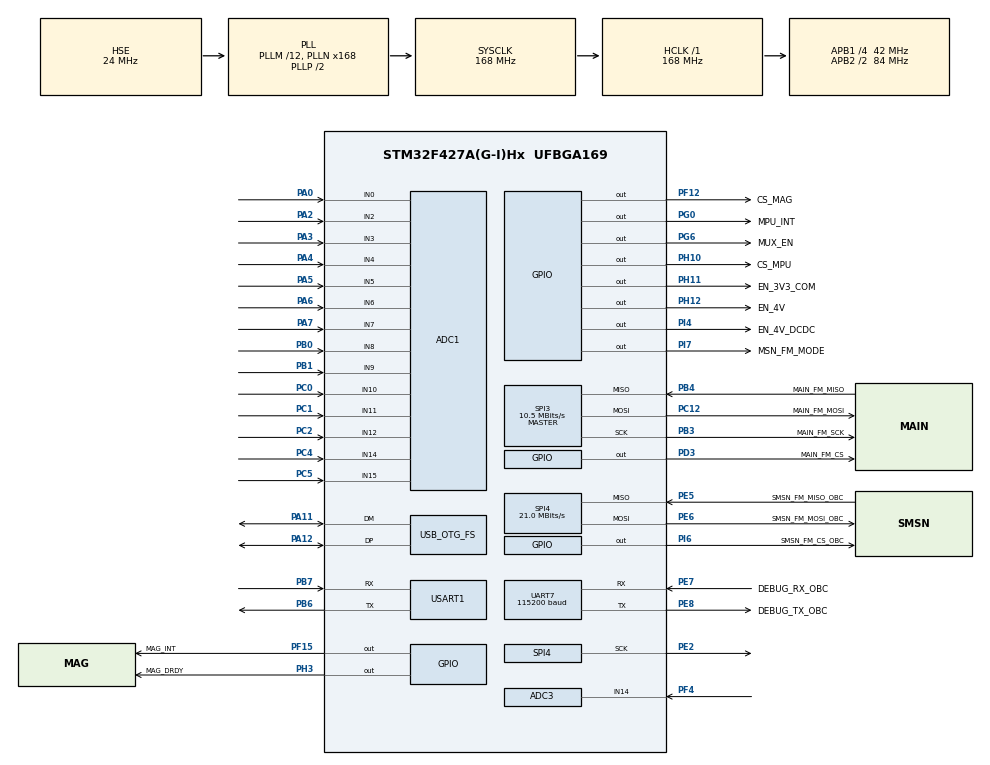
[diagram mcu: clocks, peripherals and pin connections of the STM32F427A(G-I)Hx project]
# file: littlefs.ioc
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ADC1.Channel-0\#ChannelRegularConversion=ADC_CHANNEL_0
ADC1.NbrOfConversionFlag=1
ADC1.Rank-0\#ChannelRegularConversion=1
ADC1.SamplingTime-0\#ChannelRegularConversion=ADC_SAMPLETIME_3CYCLES
ADC1.master=1
ADC3.Channel-0\#ChannelRegularConversion=ADC_CHANNEL_14
ADC3.NbrOfConversionFlag=1
ADC3.Rank-0\#ChannelRegularConversion=1
ADC3.SamplingTime-0\#ChannelRegularConversion=ADC_SAMPLETIME_3CYCLES
Mcu.Family=STM32F4
Mcu.Name=STM32F427A(G-I)Hx
Mcu.Package=UFBGA169
NVIC.OTG_FS_IRQn=true\:0\:0\:false\:false\:true\:false\:true
NVIC.PriorityGroup=NVIC_PRIORITYGROUP_4
NVIC.UART7_IRQn=true\:0\:0\:false\:false\:true\:true\:true
NVIC.USART1_IRQn=true\:0\:0\:false\:false\:true\:true\:true
PA0/WKUP.Signal=ADCx_IN0
PA11.Mode=Device_Only
PA11.Signal=USB_OTG_FS_DM
PA12.Mode=Device_Only
PA12.Signal=USB_OTG_FS_DP
PA13.Mode=Serial_Wire
PA13.Signal=SYS_JTMS-SWDIO
PA14.Mode=Serial_Wire
PA14.Signal=SYS_JTCK-SWCLK
PA2.Signal=ADCx_IN2
PA3.Signal=ADCx_IN3
PA4.Signal=ADCx_IN4
PA5.Signal=ADCx_IN5
PA6.Signal=ADCx_IN6
PA7.Signal=ADCx_IN7
PB0.Signal=ADCx_IN8
PB1.Signal=ADCx_IN9
PB3.GPIO_Label=MAIN_FM_SCK
PB3.Mode=Full_Duplex_Master
PB3.Signal=SPI3_SCK
PB4.GPIO_Label=MAIN_FM_MISO
PB4.Mode=Full_Duplex_Master
PB4.Signal=SPI3_MISO
PB6.Mode=Asynchronous
PB6.Signal=USART1_TX
PB7.Mode=Asynchronous
PB7.Signal=USART1_RX
PC0.Signal=ADCx_IN10
PC1.Signal=ADCx_IN11
PC12.GPIO_Label=MAIN_FM_MOSI
PC12.Mode=Full_Duplex_Master
PC12.Signal=SPI3_MOSI
PC14/OSC32_IN.Mode=LSE-External-Oscillator
PC14/OSC32_IN.Signal=RCC_OSC32_IN
PC15/OSC32_OUT.Mode=LSE-External-Oscillator
PC15/OSC32_OUT.Signal=RCC_OSC32_OUT
PC2.Signal=ADCx_IN12
PC4.Signal=ADCx_IN14
PC5.Signal=ADCx_IN15
PD3.GPIO_Label=MAIN_FM_CS
PD3.Signal=GPIO_Output
PE2.Mode=Full_Duplex_Master
PE2.Signal=SPI4_SCK
PE5.GPIO_Label=SMSN_FM_MISO_OBC
PE5.Mode=Full_Duplex_Master
PE5.Signal=SPI4_MISO
PE6.GPIO_Label=SMSN_FM_MOSI_OBC
PE6.Mode=Full_Duplex_Master
PE6.Signal=SPI4_MOSI
PE7.GPIO_Label=DEBUG_RX_OBC
PE7.Mode=Asynchronous
PE7.Signal=UART7_RX
PE8.GPIO_Label=DEBUG_TX_OBC
PE8.Mode=Asynchronous
PE8.Signal=UART7_TX
PF12.GPIO_Label=CS_MAG
PF12.Signal=GPIO_Output
PF15.GPIO_Label=MAG_INT
PF15.Signal=GPIO_Output
PF4.Mode=IN14
PF4.Signal=ADC3_IN14
PG0.GPIO_Label=MPU_INT
PG0.Signal=GPIO_Output
PG6.GPIO_Label=MUX_EN
PG6.Signal=GPIO_Output
PH0/OSC_IN.Mode=HSE-External-Oscillator
PH0/OSC_IN.Signal=RCC_OSC_IN
PH1/OSC_OUT.Mode=HSE-External-Oscillator
PH1/OSC_OUT.Signal=RCC_OSC_OUT
PH10.GPIO_Label=CS_MPU
PH10.Signal=GPIO_Output
PH11.GPIO_Label=EN_3V3_COM
PH11.Signal=GPIO_Output
PH12.GPIO_Label=EN_4V
PH12.Signal=GPIO_Output
PH3.GPIO_Label=MAG_DRDY
PH3.Signal=GPIO_Output
PI4.GPIO_Label=EN_4V_DCDC
PI4.Signal=GPIO_Output
PI6.GPIO_Label=SMSN_FM_CS_OBC
PI6.Signal=GPIO_Output
PI7.GPIO_Label=MSN_FM_MODE
PI7.Signal=GPIO_Output
ProjectManager.HeapSize=0x200
ProjectManager.StackSize=0x400
ProjectManager.TargetToolchain=STM32CubeIDE
RCC.48MHZClocksFreq_Value=48000000
RCC.AHBFreq_Value=168000000
RCC.APB1CLKDivider=RCC_HCLK_DIV4
RCC.APB1Freq_Value=42000000
RCC.APB1TimFreq_Value=84000000
RCC.APB2CLKDivider=RCC_HCLK_DIV2
RCC.APB2Freq_Value=84000000
RCC.APB2TimFreq_Value=168000000
RCC.CortexFreq_Value=168000000
RCC.HCLKFreq_Value=168000000
RCC.HSE_VALUE=24000000
RCC.HSI_VALUE=16000000
RCC.PLLM=12
RCC.PLLN=168
RCC.PLLQ=7
RCC.SYSCLKFreq_VALUE=168000000
RCC.SYSCLKSource=RCC_SYSCLKSOURCE_PLLCLK
RCC.VCOOutputFreq_Value=336000000
SH.ADCx_IN0.0=ADC1_IN0,IN0
SH.ADCx_IN10.0=ADC1_IN10,IN10
SH.ADCx_IN11.0=ADC1_IN11,IN11
SH.ADCx_IN12.0=ADC1_IN12,IN12
SH.ADCx_IN14.0=ADC1_IN14,IN14
SH.ADCx_IN15.0=ADC1_IN15,IN15
SH.ADCx_IN2.0=ADC1_IN2,IN2
SH.ADCx_IN3.0=ADC1_IN3,IN3
SH.ADCx_IN4.0=ADC1_IN4,IN4
SH.ADCx_IN5.0=ADC1_IN5,IN5
SH.ADCx_IN6.0=ADC1_IN6,IN6
SH.ADCx_IN7.0=ADC1_IN7,IN7
SH.ADCx_IN8.0=ADC1_IN8,IN8
SH.ADCx_IN9.0=ADC1_IN9,IN9
SPI3.BaudRatePrescaler=SPI_BAUDRATEPRESCALER_4
SPI3.CalculateBaudRate=10.5 MBits/s
SPI3.Direction=SPI_DIRECTION_2LINES
SPI3.Mode=SPI_MODE_MASTER
SPI3.VirtualType=VM_MASTER
SPI4.BaudRatePrescaler=SPI_BAUDRATEPRESCALER_4
SPI4.CalculateBaudRate=21.0 MBits/s
SPI4.Direction=SPI_DIRECTION_2LINES
SPI4.Mode=SPI_MODE_MASTER
SPI4.VirtualType=VM_MASTER
UART7.BaudRate=115200
UART7.VirtualMode=Asynchronous
USART1.VirtualMode=VM_ASYNC
USB_DEVICE.CLASS_NAME_FS=CDC
USB_DEVICE.VirtualMode-CDC_FS=Cdc
USB_DEVICE.VirtualModeFS=Cdc_FS
USB_OTG_FS.VirtualMode=Device_Only
VP_USB_DEVICE_VS_USB_DEVICE_CDC_FS.Mode=CDC_FS
board=custom

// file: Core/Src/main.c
/* USER CODE BEGIN Header */
/**
  ******************************************************************************
  * @file           : main.c
  * @brief          : Main program body
  ******************************************************************************
  * @attention
  *
  * <h2><center>&copy; Copyright (c) 2024 STMicroelectronics.
  * All rights reserved.</center></h2>
  *
  * This software component is licensed by ST under BSD 3-Clause license,
  * the "License"; You may not use this file except in compliance with the
  * License. You may obtain a copy of the License at:
  *                        opensource.org/licenses/BSD-3-Clause
  *
  ******************************************************************************
  */
/* USER CODE END Header */
#include "main.h"
#include "usb_device.h"

/* USER CODE BEGIN Includes */
#include "stdarg.h"
#include "lfs_util.h"
#include "lfs.h"
#include "MT25Q.h"
#include "nor.h"
/* USER CODE END Includes */

/* USER CODE BEGIN PTD */
//#define CDC_USB_DEBUG
#define UART_DEBUG
/* USER CODE END PTD */

/* USER CODE BEGIN PD */
#define sector_size 32
/* USER CODE END PD */

/* USER CODE BEGIN PM */
void myprintf(const char *fmt, ...);
/* USER CODE END PM */

ADC_HandleTypeDef hadc1;
ADC_HandleTypeDef hadc3;

SPI_HandleTypeDef hspi3;
SPI_HandleTypeDef hspi4;

UART_HandleTypeDef huart7;
UART_HandleTypeDef huart1;

/* USER CODE BEGIN PV */
//uint8_t tx[]={'S','A','N','G','A','M'};

uint16_t address = 0x00;
uint8_t status_reg=0;
uint8_t READ_FLAG=0;
int tx[70];

uint8_t DEBUG_DATA_RX_FLAG = 0;
// variables used by the filesystem
typedef struct{
	uint32_t secCount;
	uint32_t bootCount;
}app_count_t;
	lfs_file_t File;
		char Text[20];
		app_count_t Counter = {0};
		lfs_t Lfs;
		nor_t Nor;

/* USER CODE END PV */

void SystemClock_Config(void);
static void MX_GPIO_Init(void);
static void MX_SPI3_Init(void);
static void MX_UART7_Init(void);
static void MX_SPI4_Init(void);
static void MX_USART1_UART_Init(void);
static void MX_ADC1_Init(void);
static void MX_ADC3_Init(void);

/* USER CODE BEGIN 0 */

// Function to read data from a file in LittleFS
void read_file_from_littlefs(lfs_t *lfs, const char *filename) {
    lfs_file_t file;
    HAL_UART_Transmit(&huart7, filename,sizeof(filename),1000);
    // Open the file for reading
    int err = lfs_file_open(lfs, &file, filename, LFS_O_RDONLY);
    if (err < 0) {
        printf("Failed to open file: %s\n", filename);
        return;
    }

    // Get the file size
    lfs_soff_t file_size = lfs_file_size(lfs, &file);
    if (file_size < 0) {
        printf("Failed to get file size for: %s\n", filename);
        lfs_file_close(lfs, &file);
        return;
    }

    // Allocate a buffer to hold the file data
    float *buffer = malloc(file_size);
    if (buffer == NULL) {
        printf("Failed to allocate buffer for reading file: %s\n", filename);
        lfs_file_close(lfs, &file);
        return;
    }

    // Read the file content into the buffer
    lfs_ssize_t bytes_read = lfs_file_read(lfs, &file, buffer, file_size);
    if (bytes_read < 0) {
        printf("Failed to read file: %s\n", filename);
    } else {
    	char x;
        // Successfully read the file, print its content (if it's text data)
        HAL_UART_Transmit(&huart7, buffer, (int)bytes_read,1000);
        for(int i=0;i<(int) bytes_read;){
//        	printf(buffer[i]);
        	x=buffer[i];
        	i++;
        }

        printf("File Content (%s):\n%.*s\n", filename, (int)bytes_read, buffer);
    }

    // Clean up
    free(buffer);
    lfs_file_close(lfs, &file);
}

volatile uint8_t DmaEnd = 0;

void HAL_SPI_TxCpltCallback(SPI_HandleTypeDef *hspi){
	DmaEnd = 1;
}

void HAL_SPI_RxCpltCallback(SPI_HandleTypeDef *hspi){
	DmaEnd = 1;
}

void nor_delay_us(uint32_t us){
//	if (us >= __HAL_TIM_GET_AUTORELOAD(&htim2)){
//		us = __HAL_TIM_GET_AUTORELOAD(&htim2) - 1;
//	}
//	__HAL_TIM_SET_COUNTER(&htim2, 0);
//	HAL_TIM_Base_Start(&htim2);
//	while (__HAL_TIM_GET_COUNTER(&htim2) < us);
//	HAL_TIM_Base_Stop(&htim2);
	HAL_Delay(1000);
}

void nor_cs_assert(){
	HAL_GPIO_WritePin(GPIOD, GPIO_PIN_3, GPIO_PIN_RESET);
}

void nor_cs_deassert(){
	HAL_GPIO_WritePin(GPIOD, GPIO_PIN_3, GPIO_PIN_SET);
}

void nor_spi_tx(uint8_t *pData, uint32_t Size){
//	HAL_SPI_Transmit(&hspi3, pData, Size, 100);
	DmaEnd = 0;
	HAL_SPI_Transmit(&hspi3, pData, Size, 1000);
//	while (DmaEnd == 0);
}

void nor_spi_rx(uint8_t *pData, uint32_t Size){
//	HAL_SPI_Receive(&hspi3, pData, Size, 100);
	DmaEnd = 0;
	HAL_SPI_Receive(&hspi3, pData, Size, 1000);
//	DmaEnd =0;
//	while (DmaEnd == 0);
}

void __init_nor(){
	Nor.config.CsAssert = nor_cs_assert;
	Nor.config.CsDeassert = nor_cs_deassert;
	Nor.config.DelayUs = nor_delay_us;
	Nor.config.SpiRxFxn = nor_spi_rx;
	Nor.config.SpiTxFxn = nor_spi_tx;

	if (NOR_Init(&Nor) != NOR_OK){ //NOR_Init
		Error_Handler();
	}
}

/** Start LittleFs **/

int _fs_read(const struct lfs_config *c, lfs_block_t block,
            lfs_off_t off, void *buffer, lfs_size_t size){

	if (NOR_ReadSector(&Nor, (uint8_t*)buffer, block, off, size) == NOR_OK){
		return 0;
	}

	return LFS_ERR_IO;
}

int _fs_write(const struct lfs_config *c, lfs_block_t block,
        lfs_off_t off, const void *buffer, lfs_size_t size){

	if (NOR_WriteSector(&Nor, (uint8_t*)buffer, block, off, size) == NOR_OK){
		return 0;
	}

	return LFS_ERR_IO;
}

int _fs_erase(const struct lfs_config *c, lfs_block_t block){
	if (NOR_EraseSector(&Nor, block) == NOR_OK){
		return 0;
	}

	return LFS_ERR_IO;
}

int _fs_sync(const struct lfs_config *c){
	return 0;
}

// Function to list all files and directories in the filesystem
void list_files(lfs_t *lfs) {
    lfs_dir_t dir;
    struct lfs_info info;

    // Open the root directory
    int err = lfs_dir_open(lfs, &dir, "/");
    if (err) {
        printf("Failed to open directory\n");
        return;
    }

    // Loop through all files in the directory
    while (true) {
        err = lfs_dir_read(lfs, &dir, &info);
        if (err < 0) {
            printf("Failed to read directory\n");
            break;
        }

        // If no more files, break
        if (err == 0) {
            break;
        }
        uint8_t dir[100];
        // Print the type and name of the file
        if (info.type == LFS_TYPE_REG) {
            sprintf(dir,"File: %s\n\0", info.name);
            HAL_UART_Transmit(&huart7, dir, strlen(dir),1000);
        } else if (info.type == LFS_TYPE_DIR) {
        	sprintf(dir,"Directory: %s\n\0", info.name);

            HAL_UART_Transmit(&huart7, dir, strlen(dir),1000);
        }
    }

    // Close the directory
    lfs_dir_close(lfs, &dir);
}

void __init_littefs(){
	// because of static qualifier, this variable
	// will have a dedicated address
	static struct lfs_config LfsConfig = {0};
		int Error;

		LfsConfig.read_size = 256;
		LfsConfig.prog_size = 256;
		LfsConfig.block_size = Nor.info.u16SectorSize;
		LfsConfig.block_count =  16384;//Nor.info.u32SectorCount;
		LfsConfig.cache_size = Nor.info.u16PageSize;
		LfsConfig.lookahead_size = 8;//Nor.info.u32SectorCount/8;
		LfsConfig.block_cycles = 15000;

		LfsConfig.read = _fs_read;
		LfsConfig.prog = _fs_write;
		LfsConfig.erase = _fs_erase;
		LfsConfig.sync = _fs_sync;

		Error = lfs_mount(&Lfs, &LfsConfig);
		if (Error != LFS_ERR_OK){
			lfs_format(&Lfs, &LfsConfig);
			Error = lfs_mount(&Lfs, &LfsConfig);
			if (Error != LFS_ERR_OK){
				Error_Handler();
			}
		}

}

#define PATH_MAX_LEN 256

// Recursive function to list files and directories with full paths
void list_files_with_size(lfs_t *lfs, const char *path) {
    lfs_dir_t dir;
    struct lfs_info info;

    // Open the directory at the given path
    int err = lfs_dir_open(lfs, &dir, path);
    if (err) {
        printf("Failed to open directory: %s\n", path);
        return;
    }

    // Loop through all files in the directory
    while (true) {
        err = lfs_dir_read(lfs, &dir, &info);
        if (err < 0) {
            printf("Failed to read directory: %s\n", path);
            break;
        }

        // If no more files, break
        if (err == 0) {
            break;
        }

        // Build the full path for the current file/directory
        char full_path[PATH_MAX_LEN];
        snprintf(full_path, sizeof(full_path), "%s/%s", path, info.name);
        char pa[500];
        // Check if the entry is a file or directory
        if (info.type == LFS_TYPE_REG) {
            sprintf(pa,"File: %s, Size: %ld bytes\n", full_path, info.size);
            HAL_UART_Transmit(&huart7, pa, strlen(pa),1000);
        } else if (info.type == LFS_TYPE_DIR && strcmp(info.name, ".") != 0 && strcmp(info.name, "..") != 0) {
            sprintf(pa,"Directory: %s\n", full_path);
            HAL_UART_Transmit(&huart7, pa, strlen(pa),1000);
            // Recursively list the contents of the directory
            list_files_with_size(lfs, full_path);
        }
    }

    // Close the directory
    lfs_dir_close(lfs, &dir);
}
void __init_storage(){
	__init_nor();
	__init_littefs();
}
/* USER CODE END 0 */

int main(void)
{

  /* MCU Configuration--------------------------------------------------------*/

  /* Reset of all peripherals, Initializes the Flash interface and the Systick. */
  HAL_Init();

  /* Configure the system clock */
  SystemClock_Config();

  /* Initialize all configured peripherals */
  MX_GPIO_Init();
  MX_SPI3_Init();
  MX_UART7_Init();
  MX_USB_DEVICE_Init();
  MX_SPI4_Init();
  MX_USART1_UART_Init();
  MX_ADC1_Init();
  MX_ADC3_Init();
  /* USER CODE BEGIN 2 */
//simple
//  //First erase flash memory
//  	Sector_Erase_4B(&hspi3, address, sector_size);
//	//id read
//	Read_ID(&hspi3, &dev_id);
//
//	HAL_Delay(100);

	//status_reg = Status_Reg(&hspi3);
	//  int add = 0;
	//  for(int i=0;i<300;i++){
	//	  Sector_Erase_4B(&hspi3, add, 64);
	//	  add+=65536;
	//  }

	  // myprintf("Starting LittleFS application........\n");
    HAL_Delay(100);

  HAL_UART_Transmit(&huart7,"EPDM is starting *********\n", sizeof("EPDM is starting *********\n"),1000);

  HAL_UART_Transmit(&huart7,"Chip erase starting....\n", sizeof("Chip erase starting....\n"),1000);
//  Chip_Erase(&hspi3);

  HAL_UART_Transmit(&huart7,"Chip erase ending....\n", sizeof("Chip erase ending....\n"),1000);
  HAL_UART_Transmit(&huart7,"Chip erase ending....\n", sizeof("Chip erase ending....\n"),1000);

  __init_storage();
  list_files(&Lfs);
//  char path[200];
  char txt[]="sangam is writing it manually";

	__init_littefs();
  list_files_with_size(&Lfs, "/");
  		  lfs_file_open(&Lfs, &File, "satHealth.txt", LFS_O_RDWR  |LFS_O_APPEND);
  		  lfs_file_write(&Lfs, &File, &txt, sizeof(txt));
  		  lfs_file_close(&Lfs, &File);
  read_file_from_littlefs(&Lfs, "satHealth.txt");
//  read_file_from_littlefs(&Lfs, "sat_health.txt");
  read_file_from_littlefs(&Lfs, "flags.txt");
//  read_file_from_littlefs(&Lfs, "epdm.txt");
//   lfs_file_open(&Lfs, &File, "/sat_health.txt", LFS_O_RDWR );
////   lfs_file_read(&Lfs, &File, &Counter, sizeof(app_count_t));
//
//   lfs_file_read(&Lfs, &File, &tx, sizeof(tx));
//   HAL_UART_Transmit(&huart7,tx,strlen(tx),1000);
//   lfs_file_close(&Lfs, &File);
//
//   lfs_file_open(&Lfs, &File, "flags.txt", LFS_O_RDWR );
//  //   lfs_file_read(&Lfs, &File, &Counter, sizeof(app_count_t));
//
//     lfs_file_read(&Lfs, &File, &tx, sizeof(tx));
//     HAL_UART_Transmit(&huart7,tx,strlen(tx),1000);
//     lfs_file_close(&Lfs, &File);
//
//     lfs_file_open(&Lfs, &File, "epdm.txt", LFS_O_RDWR );
//    //   lfs_file_read(&Lfs, &File, &Counter, sizeof(app_count_t));
//
//       lfs_file_read(&Lfs, &File, &tx, sizeof(tx));
//       HAL_UART_Transmit(&huart7,tx,strlen(tx),1000);
//       lfs_file_close(&Lfs, &File);
   Counter.bootCount += 1;
  /* USER CODE END 2 */

  /* Infinite loop */
  /* USER CODE BEGIN WHILE */
  while (1)
  { sprintf(Text, "Bt %lu |Ct %lu\n", Counter.bootCount, Counter.secCount);
//	  HAL_UART_Transmit(&huart7,Text, sizeof(Text),1000);
//
//	  HAL_UART_Transmit(&huart7,"*******\n", sizeof("*******\n"),1000);

//		  lfs_file_open(&Lfs, &File, "count.txt", LFS_O_RDWR | LFS_O_CREAT |LFS_O_APPEND);
//		  lfs_file_write(&Lfs, &File, &Counter.secCount, 32);
//		  lfs_file_close(&Lfs, &File);

//		  while ((HAL_GetTick() - HalTickAux) < 1000);
//		  HAL_Delay(1000);

		  Counter.secCount += 1;
    /* USER CODE END WHILE */

  }
}

void SystemClock_Config(void)
{
  RCC_OscInitTypeDef RCC_OscInitStruct = {0};
  RCC_ClkInitTypeDef RCC_ClkInitStruct = {0};

  /** Configure the main internal regulator output voltage
  */
  __HAL_RCC_PWR_CLK_ENABLE();
  __HAL_PWR_VOLTAGESCALING_CONFIG(PWR_REGULATOR_VOLTAGE_SCALE1);
  /** Initializes the RCC Oscillators according to the specified parameters
  * in the RCC_OscInitTypeDef structure.
  */
  RCC_OscInitStruct.OscillatorType = RCC_OSCILLATORTYPE_HSE;
  RCC_OscInitStruct.HSEState = RCC_HSE_ON;
  RCC_OscInitStruct.PLL.PLLState = RCC_PLL_ON;
  RCC_OscInitStruct.PLL.PLLSource = RCC_PLLSOURCE_HSE;
  RCC_OscInitStruct.PLL.PLLM = 12;
  RCC_OscInitStruct.PLL.PLLN = 168;
  RCC_OscInitStruct.PLL.PLLP = RCC_PLLP_DIV2;
  RCC_OscInitStruct.PLL.PLLQ = 7;
  if (HAL_RCC_OscConfig(&RCC_OscInitStruct) != HAL_OK)
  {
    Error_Handler();
  }
  /** Initializes the CPU, AHB and APB buses clocks
  */
  RCC_ClkInitStruct.ClockType = RCC_CLOCKTYPE_HCLK|RCC_CLOCKTYPE_SYSCLK
                              |RCC_CLOCKTYPE_PCLK1|RCC_CLOCKTYPE_PCLK2;
  RCC_ClkInitStruct.SYSCLKSource = RCC_SYSCLKSOURCE_PLLCLK;
  RCC_ClkInitStruct.AHBCLKDivider = RCC_SYSCLK_DIV1;
  RCC_ClkInitStruct.APB1CLKDivider = RCC_HCLK_DIV4;
  RCC_ClkInitStruct.APB2CLKDivider = RCC_HCLK_DIV2;

  if (HAL_RCC_ClockConfig(&RCC_ClkInitStruct, FLASH_LATENCY_5) != HAL_OK)
  {
    Error_Handler();
  }
}

static void MX_ADC1_Init(void)
{

  ADC_ChannelConfTypeDef sConfig = {0};

  /** Configure the global features of the ADC (Clock, Resolution, Data Alignment and number of conversion)
  */
  hadc1.Instance = ADC1;
  hadc1.Init.ClockPrescaler = ADC_CLOCK_SYNC_PCLK_DIV4;
  hadc1.Init.Resolution = ADC_RESOLUTION_12B;
  hadc1.Init.ScanConvMode = DISABLE;
  hadc1.Init.ContinuousConvMode = DISABLE;
  hadc1.Init.DiscontinuousConvMode = DISABLE;
  hadc1.Init.ExternalTrigConvEdge = ADC_EXTERNALTRIGCONVEDGE_NONE;
  hadc1.Init.ExternalTrigConv = ADC_SOFTWARE_START;
  hadc1.Init.DataAlign = ADC_DATAALIGN_RIGHT;
  hadc1.Init.NbrOfConversion = 1;
  hadc1.Init.DMAContinuousRequests = DISABLE;
  hadc1.Init.EOCSelection = ADC_EOC_SINGLE_CONV;
  if (HAL_ADC_Init(&hadc1) != HAL_OK)
  {
    Error_Handler();
  }
  /** Configure for the selected ADC regular channel its corresponding rank in the sequencer and its sample time.
  */
  sConfig.Channel = ADC_CHANNEL_0;
  sConfig.Rank = 1;
  sConfig.SamplingTime = ADC_SAMPLETIME_3CYCLES;
  if (HAL_ADC_ConfigChannel(&hadc1, &sConfig) != HAL_OK)
  {
    Error_Handler();
  }

}

static void MX_ADC3_Init(void)
{

  ADC_ChannelConfTypeDef sConfig = {0};

  /** Configure the global features of the ADC (Clock, Resolution, Data Alignment and number of conversion)
  */
  hadc3.Instance = ADC3;
  hadc3.Init.ClockPrescaler = ADC_CLOCK_SYNC_PCLK_DIV4;
  hadc3.Init.Resolution = ADC_RESOLUTION_12B;
  hadc3.Init.ScanConvMode = DISABLE;
  hadc3.Init.ContinuousConvMode = DISABLE;
  hadc3.Init.DiscontinuousConvMode = DISABLE;
  hadc3.Init.ExternalTrigConvEdge = ADC_EXTERNALTRIGCONVEDGE_NONE;
  hadc3.Init.ExternalTrigConv = ADC_SOFTWARE_START;
  hadc3.Init.DataAlign = ADC_DATAALIGN_RIGHT;
  hadc3.Init.NbrOfConversion = 1;
  hadc3.Init.DMAContinuousRequests = DISABLE;
  hadc3.Init.EOCSelection = ADC_EOC_SINGLE_CONV;
  if (HAL_ADC_Init(&hadc3) != HAL_OK)
  {
    Error_Handler();
  }
  /** Configure for the selected ADC regular channel its corresponding rank in the sequencer and its sample time.
  */
  sConfig.Channel = ADC_CHANNEL_14;
  sConfig.Rank = 1;
  sConfig.SamplingTime = ADC_SAMPLETIME_3CYCLES;
  if (HAL_ADC_ConfigChannel(&hadc3, &sConfig) != HAL_OK)
  {
    Error_Handler();
  }

}

static void MX_SPI3_Init(void)
{

  /* SPI3 parameter configuration*/
  hspi3.Instance = SPI3;
  hspi3.Init.Mode = SPI_MODE_MASTER;
  hspi3.Init.Direction = SPI_DIRECTION_2LINES;
  hspi3.Init.DataSize = SPI_DATASIZE_8BIT;
  hspi3.Init.CLKPolarity = SPI_POLARITY_LOW;
  hspi3.Init.CLKPhase = SPI_PHASE_1EDGE;
  hspi3.Init.NSS = SPI_NSS_SOFT;
  hspi3.Init.BaudRatePrescaler = SPI_BAUDRATEPRESCALER_4;
  hspi3.Init.FirstBit = SPI_FIRSTBIT_MSB;
  hspi3.Init.TIMode = SPI_TIMODE_DISABLE;
  hspi3.Init.CRCCalculation = SPI_CRCCALCULATION_DISABLE;
  hspi3.Init.CRCPolynomial = 10;
  if (HAL_SPI_Init(&hspi3) != HAL_OK)
  {
    Error_Handler();
  }

}

static void MX_SPI4_Init(void)
{

  /* SPI4 parameter configuration*/
  hspi4.Instance = SPI4;
  hspi4.Init.Mode = SPI_MODE_MASTER;
  hspi4.Init.Direction = SPI_DIRECTION_2LINES;
  hspi4.Init.DataSize = SPI_DATASIZE_8BIT;
  hspi4.Init.CLKPolarity = SPI_POLARITY_LOW;
  hspi4.Init.CLKPhase = SPI_PHASE_1EDGE;
  hspi4.Init.NSS = SPI_NSS_SOFT;
  hspi4.Init.BaudRatePrescaler = SPI_BAUDRATEPRESCALER_4;
  hspi4.Init.FirstBit = SPI_FIRSTBIT_MSB;
  hspi4.Init.TIMode = SPI_TIMODE_DISABLE;
  hspi4.Init.CRCCalculation = SPI_CRCCALCULATION_DISABLE;
  hspi4.Init.CRCPolynomial = 10;
  if (HAL_SPI_Init(&hspi4) != HAL_OK)
  {
    Error_Handler();
  }

}

static void MX_UART7_Init(void)
{

  huart7.Instance = UART7;
  huart7.Init.BaudRate = 115200;
  huart7.Init.WordLength = UART_WORDLENGTH_8B;
  huart7.Init.StopBits = UART_STOPBITS_1;
  huart7.Init.Parity = UART_PARITY_NONE;
  huart7.Init.Mode = UART_MODE_TX_RX;
  huart7.Init.HwFlowCtl = UART_HWCONTROL_NONE;
  huart7.Init.OverSampling = UART_OVERSAMPLING_16;
  if (HAL_UART_Init(&huart7) != HAL_OK)
  {
    Error_Handler();
  }

}

static void MX_USART1_UART_Init(void)
{

  huart1.Instance = USART1;
  huart1.Init.BaudRate = 115200;
  huart1.Init.WordLength = UART_WORDLENGTH_8B;
  huart1.Init.StopBits = UART_STOPBITS_1;
  huart1.Init.Parity = UART_PARITY_NONE;
  huart1.Init.Mode = UART_MODE_TX_RX;
  huart1.Init.HwFlowCtl = UART_HWCONTROL_NONE;
  huart1.Init.OverSampling = UART_OVERSAMPLING_16;
  if (HAL_UART_Init(&huart1) != HAL_OK)
  {
    Error_Handler();
  }

}

static void MX_GPIO_Init(void)
{
  GPIO_InitTypeDef GPIO_InitStruct = {0};

  /* GPIO Ports Clock Enable */
  __HAL_RCC_GPIOI_CLK_ENABLE();
  __HAL_RCC_GPIOB_CLK_ENABLE();
  __HAL_RCC_GPIOD_CLK_ENABLE();
  __HAL_RCC_GPIOC_CLK_ENABLE();
  __HAL_RCC_GPIOA_CLK_ENABLE();
  __HAL_RCC_GPIOE_CLK_ENABLE();
  __HAL_RCC_GPIOH_CLK_ENABLE();
  __HAL_RCC_GPIOF_CLK_ENABLE();
  __HAL_RCC_GPIOG_CLK_ENABLE();

  /*Configure GPIO pin Output Level */
  HAL_GPIO_WritePin(GPIOI, SMSN_FM_CS_OBC_Pin|MSN_FM_MODE_Pin|EN_4V_DCDC_Pin, GPIO_PIN_RESET);

  /*Configure GPIO pin Output Level */
  HAL_GPIO_WritePin(MAIN_FM_CS_GPIO_Port, MAIN_FM_CS_Pin, GPIO_PIN_RESET);

  /*Configure GPIO pin Output Level */
  HAL_GPIO_WritePin(GPIOG, MUX_EN_Pin|MPU_INT_Pin, GPIO_PIN_RESET);

  /*Configure GPIO pin Output Level */
  HAL_GPIO_WritePin(GPIOH, MAG_DRDY_Pin|EN_4V_Pin|EN_3V3_COM_Pin|CS_MPU_Pin, GPIO_PIN_RESET);

  /*Configure GPIO pin Output Level */
  HAL_GPIO_WritePin(GPIOF, MAG_INT_Pin|CS_MAG_Pin, GPIO_PIN_RESET);

  /*Configure GPIO pins : SMSN_FM_CS_OBC_Pin MSN_FM_MODE_Pin EN_4V_DCDC_Pin */
  GPIO_InitStruct.Pin = SMSN_FM_CS_OBC_Pin|MSN_FM_MODE_Pin|EN_4V_DCDC_Pin;
  GPIO_InitStruct.Mode = GPIO_MODE_OUTPUT_PP;
  GPIO_InitStruct.Pull = GPIO_NOPULL;
  GPIO_InitStruct.Speed = GPIO_SPEED_FREQ_LOW;
  HAL_GPIO_Init(GPIOI, &GPIO_InitStruct);

  /*Configure GPIO pin : MAIN_FM_CS_Pin */
  GPIO_InitStruct.Pin = MAIN_FM_CS_Pin;
  GPIO_InitStruct.Mode = GPIO_MODE_OUTPUT_PP;
  GPIO_InitStruct.Pull = GPIO_NOPULL;
  GPIO_InitStruct.Speed = GPIO_SPEED_FREQ_LOW;
  HAL_GPIO_Init(MAIN_FM_CS_GPIO_Port, &GPIO_InitStruct);

  /*Configure GPIO pins : MUX_EN_Pin MPU_INT_Pin */
  GPIO_InitStruct.Pin = MUX_EN_Pin|MPU_INT_Pin;
  GPIO_InitStruct.Mode = GPIO_MODE_OUTPUT_PP;
  GPIO_InitStruct.Pull = GPIO_NOPULL;
  GPIO_InitStruct.Speed = GPIO_SPEED_FREQ_LOW;
  HAL_GPIO_Init(GPIOG, &GPIO_InitStruct);

  /*Configure GPIO pins : MAG_DRDY_Pin EN_4V_Pin EN_3V3_COM_Pin CS_MPU_Pin */
  GPIO_InitStruct.Pin = MAG_DRDY_Pin|EN_4V_Pin|EN_3V3_COM_Pin|CS_MPU_Pin;
  GPIO_InitStruct.Mode = GPIO_MODE_OUTPUT_PP;
  GPIO_InitStruct.Pull = GPIO_NOPULL;
  GPIO_InitStruct.Speed = GPIO_SPEED_FREQ_LOW;
  HAL_GPIO_Init(GPIOH, &GPIO_InitStruct);

  /*Configure GPIO pins : MAG_INT_Pin CS_MAG_Pin */
  GPIO_InitStruct.Pin = MAG_INT_Pin|CS_MAG_Pin;
  GPIO_InitStruct.Mode = GPIO_MODE_OUTPUT_PP;
  GPIO_InitStruct.Pull = GPIO_NOPULL;
  GPIO_InitStruct.Speed = GPIO_SPEED_FREQ_LOW;
  HAL_GPIO_Init(GPIOF, &GPIO_InitStruct);

}

/* USER CODE BEGIN 4 */
void myprintf(const char *fmt, ...) {
    va_list args;
    va_start(args, fmt);
    char buffer[100];
    vsnprintf(buffer, sizeof(buffer), fmt, args);
    HAL_UART_Transmit(&huart7, (uint8_t*) buffer, strlen(buffer), HAL_MAX_DELAY);
    va_end(args);
}

int bufferSize(char *buffer) {
    int i = 0;
    while (*buffer++ != '\0')
        i++;
    return i;
}
/* USER CODE END 4 */

void Error_Handler(void)
{
  __disable_irq();
  while (1)
  {
  }
}

/************************ (C) COPYRIGHT STMicroelectronics *****END OF FILE****/
